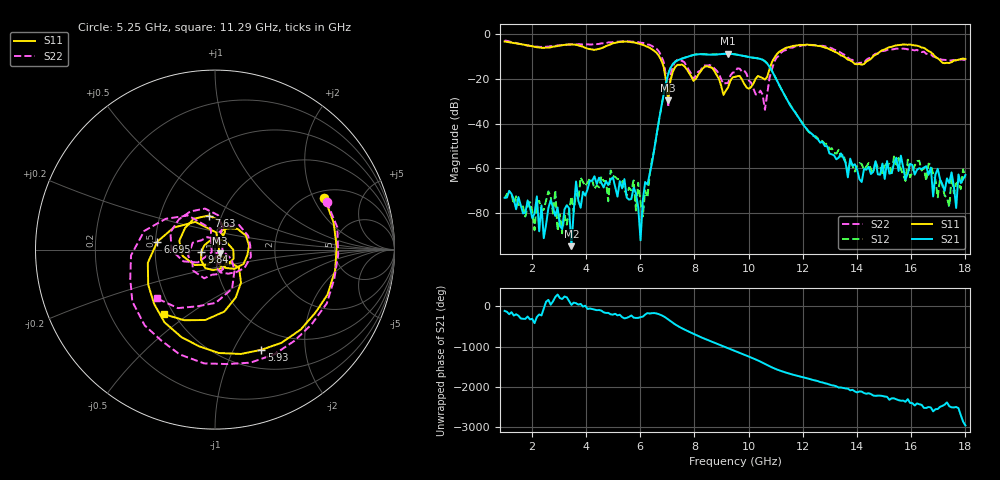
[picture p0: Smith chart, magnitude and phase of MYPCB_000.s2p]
#  HZ  S  RI  R  50.00
! Rohde & Schwarz Vector Network Analyzer
! Rohde-Schwarz,ZNA43-4Port,1332450044101949,2.80
! Created: UTC 10/19/2026, 4:40:39 PM
! freq[Hz]  re:S11  im:S11  re:S21  im:S21  re:S12  im:S12  re:S22  im:S22
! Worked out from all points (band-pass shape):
!   201 points, 1 GHz to 18 GHz, reference 50 ohm
!   highest |S21| = -8.78 dB at 9.245 GHz (marker M1); lowest = -94.8 dB at 3.465 GHz (marker M2)
!   |S21| within 3 dB of the highest: 7.372 GHz to 10.56 GHz (3.186 GHz wide, 35.5 % of centre)
!   lowest |S11| = -29.6 dB at 7.035 GHz (marker M3), VSWR 1.07, Z = 52.6 - j2.18 ohm
!   |S11| at or under -10 dB: 6.705 GHz to 10.98 GHz (4.279 GHz wide, 48.4 % of centre); 13.51 GHz to 14.59 GHz (1.082 GHz wide, 7.7 % of centre); 16.88 GHz to end of sweep
!   |S22| runs from -33.8 to -2.8 dB; largest |S21 - S12| = 0.024
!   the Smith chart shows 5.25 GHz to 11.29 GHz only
!   S11 on the Smith chart (normalised r, x): 5.25 GHz: 2.32, +2.45; 5.93 GHz: 0.72, -1.30; 6.695 GHz: 0.51, +0.05; 7.63 GHz: 0.87, +0.34; 9.84 GHz: 0.86, -0.02; 11.29 GHz: 0.45, -0.41
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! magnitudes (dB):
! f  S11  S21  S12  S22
! 1 GHz  -3.3  -73.2  -73.5  -2.8
! 3.465 GHz  -4.6  -94.8  -72.6  -4.5
! 3.89 GHz  -5.6  -70.5  -66.1  -4.7
! 5.25 GHz  -3.4  -65.7  -64.9  -3.4
! 5.845 GHz  -3.9  -71.2  -78.9  -3.5
! 5.93 GHz  -4.2  -77.4  -66.5  -3.6
! 6.1 GHz  -4.8  -74.2  -81.6  -3.9
! 6.695 GHz  -9.8  -38.4  -38.7  -7.8
! 7.035 GHz  -29.6  -17.9  -17.8  -32.6
! 7.63 GHz  -14.3  -10.6  -10.6  -12.6
! 9.245 GHz  -23.8  -8.8  -8.7  -22.0
! 9.5 GHz  -19.1  -9.1  -9.0  -17.0
! 9.84 GHz  -22.2  -9.9  -9.8  -16.3
! 10.61 GHz  -20.3  -12.2  -12.1  -33.8
! 11.29 GHz  -6.8  -26.3  -26.4  -7.5
! 12.39 GHz  -4.9  -45.2  -45.6  -5.0
! 15.2 GHz  -5.9  -62.4  -58.0  -6.8
! 16.73 GHz  -8.0  -59.7  -58.4  -9.1
! 17.41 GHz  -12.9  -66.6  -77.3  -11.9
! 17.49 GHz  -12.6  -61.8  -63.7  -11.8
! 17.66 GHz  -11.7  -77.7  -66.9  -11.8
! 18 GHz  -11.1  -63.0  -64.1  -11.5
